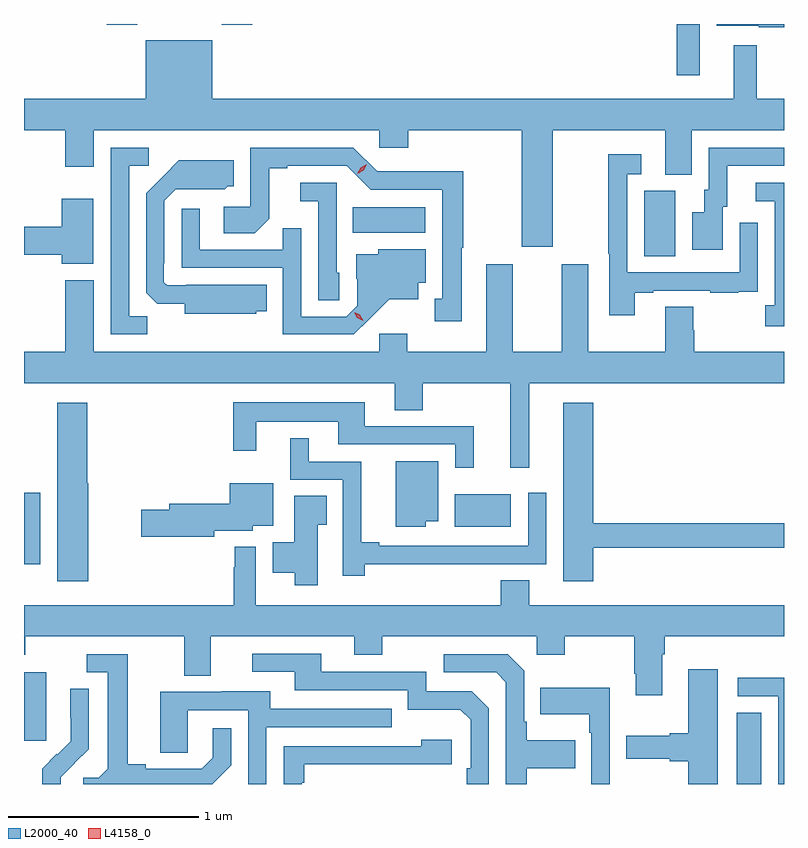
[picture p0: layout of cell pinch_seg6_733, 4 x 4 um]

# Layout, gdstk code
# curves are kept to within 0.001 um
import gdstk
lib = gdstk.Library(unit=1e-6, precision=1e-09)
def R(c, l, rs):  # rectangles x0, y0, x1, y1
    for r in rs: c.add(gdstk.rectangle(r[:2], r[2:], *l))
def P(c, l, *ps):  # polygons
    for p in ps: c.add(gdstk.Polygon(p, *l))
L2000_40 = (2000, 40)
L4158_0 = (4158, 0)

pinch_seg6_733 = lib.new_cell('pinch_seg6_733')
R(pinch_seg6_733, L2000_40, [(616.244,935.902,616.375,936.278), (612.494,936.129,612.61,936.49), (612.494,937.059,612.579,937.435), (614.762,937.256,615.055,937.426), (615.758,938.68,615.922,939.024), (614.224,938.804,614.605,938.938), (615.93,939.633,616.051,939.902), (612.929,939.897,613.089,939.902), (613.534,939.897,613.694,939.902)])
P(pinch_seg6_733, L2000_40, [(616.494,939.902),(616.139,939.902),(616.139,939.893),(616.362,939.893),(616.362,939.886),(616.494,939.886)],
  [(615.277,939.344),(615.869,939.344),(615.869,939.109),(616.009,939.109),(616.009,939.344),(616.494,939.344),(616.494,939.508),(616.351,939.508),(616.351,939.79),(616.229,939.79),(616.229,939.508),(613.486,939.508),(613.486,939.817),(613.136,939.817),(613.136,939.508),(612.494,939.508),(612.494,939.344),(612.71,939.344),(612.71,939.15),(612.862,939.15),(612.862,939.344),(614.364,939.344),(614.364,939.251),(614.516,939.251),(614.516,939.344),(615.113,939.344),(615.113,938.73),(615.277,938.73)],
  [(616.171,938.94),(616.195,938.94),(616.195,939.156),(616.494,939.156),(616.494,939.252),(616.098,939.252),(616.098,939.03),(616.073,939.03),(616.073,938.911),(616.01,938.911),(616.01,938.715),(616.171,938.715)],
  [(613.143,938.363),(613.047,938.363),(613.047,939.156),(613.15,939.156),(613.15,939.252),(612.951,939.252),(612.951,938.268),(613.143,938.268)],
  [(614.797,938.725),(614.807,938.725),(614.807,939.128),(614.574,939.128),(614.574,939.126),(614.352,939.126),(614.226,939.252),(613.686,939.252),(613.686,938.94),(613.545,938.94),(613.545,938.8),(613.709,938.8),(613.785,938.876),(613.785,939.144),(613.879,939.144),(613.879,939.156),(614.193,939.156),(614.319,939.03),(614.696,939.03),(614.696,938.457),(614.657,938.457),(614.657,938.337),(614.797,938.337)],
  [(615.709,938.487),(615.805,938.487),(615.805,938.499),(616.105,938.499),(616.105,938.487),(616.253,938.487),(616.253,938.493),(616.355,938.493),(616.355,938.602),(616.356,938.602),(616.356,938.857),(616.26,938.857),(616.26,938.595),(615.669,938.595),(615.669,939.111),(615.742,939.111),(615.742,939.217),(615.568,939.217),(615.568,938.692),(615.573,938.692),(615.573,938.37),(615.709,938.37)],
  [(613.716,938.39),(613.772,938.39),(613.772,938.53),(613.348,938.53),(613.348,938.526),(613.248,938.526),(613.23,938.544),(613.23,938.644),(613.233,938.644),(613.233,938.973),(613.293,939.033),(613.55,939.032),(613.566,939.048),(613.597,939.048),(613.597,939.184),(613.309,939.184),(613.137,939.01),(613.137,938.488),(613.196,938.429),(613.34,938.429),(613.34,938.378),(613.716,938.378)],
  [(614.154,938.592),(614.139,938.592),(614.139,939.066),(613.947,939.066),(613.947,938.969),(614.043,938.969),(614.043,938.449),(614.154,938.449)],
  [(616.494,939.066),(616.344,939.066),(616.344,938.97),(616.446,938.97),(616.446,938.422),(616.395,938.422),(616.395,938.312),(616.494,938.312)],
  [(612.859,938.983),(612.692,938.983),(612.692,938.834),(612.494,938.834),(612.494,938.687),(612.692,938.687),(612.692,938.639),(612.859,938.639)],
  [(614.314,938.351),(614.417,938.453),(614.569,938.453),(614.569,938.54),(614.608,938.54),(614.608,938.716),(614.358,938.716),(614.358,938.689),(614.243,938.689),(614.243,938.56),(614.247,938.56),(614.247,938.418),(614.19,938.361),(613.953,938.361),(613.953,938.828),(613.855,938.828),(613.855,938.715),(613.419,938.715),(613.419,938.929),(613.323,938.929),(613.323,938.619),(613.857,938.619),(613.857,938.268),(614.23,938.268)],
  [(614.511,938.272),(614.364,938.272),(614.364,938.176),(612.862,938.176),(612.862,938.554),(612.71,938.554),(612.71,938.176),(612.494,938.176),(612.494,938.012),(614.444,938.012),(614.444,937.87),(614.592,937.87),(614.592,938.012),(615.053,938.012),(615.053,937.566),(615.152,937.566),(615.152,938.012),(616.494,938.012),(616.494,938.176),(616.022,938.176),(616.022,938.289),(616.017,938.289),(616.017,938.414),(615.869,938.414),(615.869,938.176),(615.463,938.176),(615.463,938.638),(615.323,938.638),(615.323,938.176),(615.067,938.176),(615.067,938.638),(614.927,938.638),(614.927,938.176),(614.511,938.176)],
  [(614.861,937.785),(614.287,937.785),(614.287,937.912),(613.596,937.912),(613.596,937.656),(613.717,937.656),(613.717,937.808),(614.147,937.808),(614.147,937.689),(614.763,937.689),(614.763,937.566),(614.861,937.566)],
  [(612.832,937.485),(612.827,937.485),(612.827,937.909),(612.668,937.909),(612.668,936.969),(612.832,936.969)],
  [(615.491,937.146),(616.494,937.146),(616.494,937.274),(615.491,937.274),(615.491,937.909),(615.332,937.909),(615.332,936.969),(615.491,936.969)],
  [(614.288,937.058),(614.918,937.058),(614.918,937.059),(615.243,937.059),(615.243,937.435),(615.147,937.435),(615.147,937.155),(614.365,937.155),(614.365,937.175),(614.27,937.175),(614.27,937.599),(613.993,937.599),(613.993,937.723),(613.895,937.723),(613.895,937.503),(614.172,937.503),(614.172,936.999),(614.288,936.999)],
  [(614.608,937.286),(614.674,937.286),(614.674,937.6),(614.45,937.6),(614.45,937.256),(614.608,937.256)],
  [(613.494,937.235),(613.698,937.235),(613.698,937.262),(613.807,937.262),(613.807,937.486),(613.577,937.486),(613.577,937.376),(613.259,937.376),(613.259,937.346),(613.11,937.346),(613.11,937.204),(613.494,937.204)],
  [(614.041,937.267),(614.087,937.267),(614.087,937.418),(613.916,937.418),(613.916,937.174),(613.802,937.174),(613.802,937.013),(613.919,937.013),(613.919,936.948),(614.041,936.948)],
  [(615.853,936.584),(615.866,936.584),(615.866,936.68),(616.494,936.68),(616.494,936.844),(615.154,936.844),(615.154,936.974),(615.002,936.974),(615.002,936.844),(613.713,936.844),(613.713,937.15),(613.603,937.15),(613.603,937.043),(613.597,937.043),(613.597,936.844),(612.494,936.844),(612.494,936.581),(612.501,936.581),(612.501,936.68),(613.337,936.68),(613.337,936.472),(613.477,936.472),(613.477,936.68),(614.231,936.68),(614.231,936.581),(614.379,936.581),(614.379,936.68),(615.192,936.68),(615.192,936.581),(615.339,936.581),(615.339,936.68),(615.706,936.68),(615.706,936.481),(615.713,936.481),(615.713,936.369),(615.853,936.369)],
  [(614.94,936.3),(614.85,936.39),(614.61,936.39),(614.61,936.492),(614.059,936.492),(614.059,936.588),(613.695,936.588),(613.695,936.492),(613.919,936.492),(613.919,936.396),(614.514,936.396),(614.514,936.293),(614.791,936.293),(614.844,936.24),(614.844,935.986),(614.824,935.986),(614.824,935.902),(614.94,935.902)],
  [(615.139,935.986),(615.395,935.986),(615.395,936.133),(615.139,936.133),(615.139,936.229),(615.126,936.229),(615.126,936.498),(615.039,936.585),(614.703,936.585),(614.703,936.489),(614.979,936.489),(615.03,936.438),(615.03,935.902),(615.139,935.902)],
  [(613.584,936.002),(613.584,936.196),(613.487,936.196),(613.487,936.039),(613.43,935.982),(613.135,935.982),(613.135,936.005),(613.039,936.005),(613.039,936.585),(612.825,936.585),(612.825,936.489),(612.935,936.489),(612.935,935.981),(612.888,935.934),(612.807,935.934),(612.807,935.902),(613.484,935.902)],
  [(616.144,936.505),(615.989,936.505),(615.989,936.17),(615.893,936.17),(615.893,936.157),(615.663,936.157),(615.663,936.035),(615.893,936.035),(615.893,936.023),(615.989,936.023),(615.989,935.902),(616.144,935.902)],
  [(616.494,936.462),(616.251,936.462),(616.251,936.363),(616.464,936.363),(616.464,935.902),(616.494,935.902)],
  [(615.576,936.409),(615.211,936.409),(615.211,936.269),(615.468,936.269),(615.468,936.173),(615.48,936.173),(615.48,935.902),(615.576,935.902)],
  [(612.688,935.938),(612.834,936.086),(612.834,936.404),(612.738,936.404),(612.738,936.25),(612.74,936.25),(612.74,936.128),(612.669,936.057),(612.666,936.06),(612.589,935.983),(612.589,935.902),(612.688,935.902)],
  [(613.77,936.201),(614.429,936.201),(614.429,936.297),(613.789,936.297),(613.789,936.391),(613.535,936.391),(613.535,936.387),(613.211,936.387),(613.211,936.067),(613.356,936.067),(613.356,936.291),(613.674,936.291),(613.674,935.902),(613.77,935.902)],
  [(613.956,935.909),(613.969,935.909),(613.969,936.006),(614.746,936.006),(614.746,936.136),(614.585,936.136),(614.585,936.102),(613.86,936.102),(613.86,935.902),(613.956,935.902)])
P(pinch_seg6_733, L4158_0, [(614.249,939.114),(614.249,939.114),(614.266,939.146),(614.298,939.165),(614.298,939.165),(614.298,939.165),(614.281,939.133),(614.249,939.114)],
  [(614.279,938.341),(614.249,938.356),(614.231,938.386),(614.231,938.386),(614.232,938.386),(614.262,938.371),(614.28,938.341),(614.28,938.341)])

lib.write_gds('pinch_seg6_733.gds')
